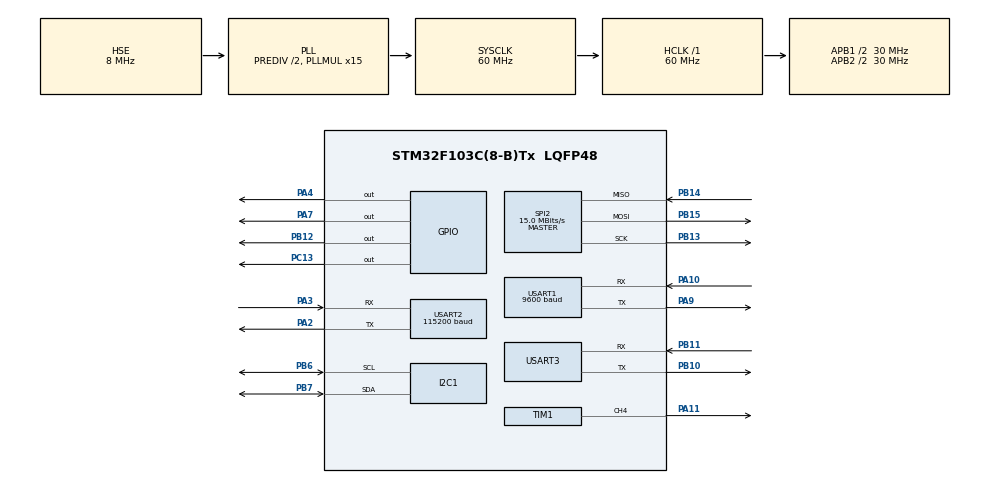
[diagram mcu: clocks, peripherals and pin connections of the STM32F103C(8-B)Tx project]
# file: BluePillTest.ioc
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I2C1.I2C_Mode=I2C_Fast
Mcu.Family=STM32F1
Mcu.Name=STM32F103C(8-B)Tx
Mcu.Package=LQFP48
NVIC.PriorityGroup=NVIC_PRIORITYGROUP_4
NVIC.USART1_IRQn=true\:1\:0\:true\:false\:true\:true\:true\:true
NVIC.USART2_IRQn=true\:1\:0\:true\:false\:true\:true\:true\:true
NVIC.USART3_IRQn=true\:0\:0\:false\:false\:true\:true\:true\:true
PA10.Mode=Asynchronous
PA10.Signal=USART1_RX
PA11.Signal=S_TIM1_CH4
PA13.Mode=Serial_Wire
PA13.Signal=SYS_JTMS-SWDIO
PA14.Mode=Serial_Wire
PA14.Signal=SYS_JTCK-SWCLK
PA2.Mode=Asynchronous
PA2.Signal=USART2_TX
PA3.Mode=Asynchronous
PA3.Signal=USART2_RX
PA4.PinState=GPIO_PIN_SET
PA4.Signal=GPIO_Output
PA7.Signal=GPIO_Output
PA9.Mode=Asynchronous
PA9.Signal=USART1_TX
PB10.Mode=Asynchronous
PB10.Signal=USART3_TX
PB11.Mode=Asynchronous
PB11.Signal=USART3_RX
PB12.PinState=GPIO_PIN_SET
PB12.Signal=GPIO_Output
PB13.Mode=Full_Duplex_Master
PB13.Signal=SPI2_SCK
PB14.Mode=Full_Duplex_Master
PB14.Signal=SPI2_MISO
PB15.Mode=Full_Duplex_Master
PB15.Signal=SPI2_MOSI
PB6.Mode=I2C
PB6.Signal=I2C1_SCL
PB7.Mode=I2C
PB7.Signal=I2C1_SDA
PC13-TAMPER-RTC.Signal=GPIO_Output
PD0-OSC_IN.Mode=HSE-External-Oscillator
PD0-OSC_IN.Signal=RCC_OSC_IN
PD1-OSC_OUT.Mode=HSE-External-Oscillator
PD1-OSC_OUT.Signal=RCC_OSC_OUT
ProjectManager.HeapSize=0x200
ProjectManager.StackSize=0x400
ProjectManager.TargetToolchain=STM32CubeIDE
RCC.AHBFreq_Value=60000000
RCC.APB1CLKDivider=RCC_HCLK_DIV2
RCC.APB1Freq_Value=30000000
RCC.APB1TimFreq_Value=60000000
RCC.APB2CLKDivider=RCC_HCLK_DIV2
RCC.APB2Freq_Value=30000000
RCC.APB2TimFreq_Value=60000000
RCC.HCLKFreq_Value=60000000
RCC.HSEDivPLL=RCC_HSE_PREDIV_DIV2
RCC.PLLMUL=RCC_PLL_MUL15
RCC.PLLSourceVirtual=RCC_PLLSOURCE_HSE
RCC.SYSCLKFreq_VALUE=60000000
RCC.SYSCLKSource=RCC_SYSCLKSOURCE_PLLCLK
RCC.USBFreq_Value=60000000
SH.S_TIM1_CH4.0=TIM1_CH4,PWM Generation4 CH4
SPI2.CalculateBaudRate=15.0 MBits/s
SPI2.Direction=SPI_DIRECTION_2LINES
SPI2.Mode=SPI_MODE_MASTER
SPI2.VirtualType=VM_MASTER
TIM1.Channel-PWM\ Generation4\ CH4=TIM_CHANNEL_4
TIM1.Period=1000
USART1.BaudRate=9600
USART1.VirtualMode=VM_ASYNC
USART2.BaudRate=115200
USART2.VirtualMode=VM_ASYNC
USART3.VirtualMode=VM_ASYNC
VP_TIM1_VS_ClockSourceINT.Mode=Internal
board=custom

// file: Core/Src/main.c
/* USER CODE BEGIN Header */
/**
 ******************************************************************************
 * @file           : main.c
 * @brief          : Main program body
 ******************************************************************************
 * @attention
 *
 * Copyright (c) 2024 STMicroelectronics.
 * All rights reserved.
 *
 * This software is licensed under terms that can be found in the LICENSE file
 * in the root directory of this software component.
 * If no LICENSE file comes with this software, it is provided AS-IS.
 *
 ******************************************************************************
 */
/* USER CODE END Header */
#include "main.h"

/* USER CODE BEGIN Includes */
#include "bno055_stm32.h"
#include "BMP388.h"
#include "string.h"
#include "stdio.h"
#include "math.h"
/* USER CODE END Includes */

I2C_HandleTypeDef hi2c1;

SPI_HandleTypeDef hspi2;

TIM_HandleTypeDef htim1;

UART_HandleTypeDef huart1;
UART_HandleTypeDef huart2;
UART_HandleTypeDef huart3;

void SystemClock_Config(void);
static void MX_GPIO_Init(void);
static void MX_I2C1_Init(void);
static void MX_USART1_UART_Init(void);
static void MX_USART2_UART_Init(void);
static void MX_SPI2_Init(void);
static void MX_TIM1_Init(void);
static void MX_USART3_UART_Init(void);

/* USER CODE BEGIN 0 */
//BMP280_HandleTypedef bmp280;

float pressure, temperature, humidity;
BMP388_HandleTypeDef hbmp388;
uint16_t size;
uint8_t Data[256];
uint8_t rxBuffer[128] = { 0 };
uint8_t rxIndex = 0;
uint8_t rxData;
uint8_t rxBuffer2[128] = { 0 };
uint8_t rxIndex2 = 0;
uint8_t rxData2;
float nmeaLong;
float nmeaLat;
float utcTime;
char northsouth;
char eastwest;
char posStatus;
float decimalLong;
float decimalLat;
float press = 0;
float temp = 0;
float device_alt = 0;
float mode = 0;
uint8_t launch = 0;
uint8_t apogee = 0;
uint32_t t1=0;
uint32_t currtime=0;
uint8_t burnout = 0;
uint8_t minalt = 0;
uint8_t angle = 0;
uint8_t drift = 0;
float prev_height = 0;
uint8_t fallalt = 0;
uint32_t t2 = 0;
uint8_t mainpara = 0;
bno055_vector_t v;
bno055_calibration_state_t k;
int flag = 1;
float initialalt=0;

float nmeaToDecimal(float coordinate) {
	int degree = (int) (coordinate / 100);
	float minutes = coordinate - degree * 100;
	float decimalDegree = minutes / 60;
	float decimal = degree + decimalDegree;
	return decimal;
}
#define TIM_FREQ 60000000

int presForFrequency (int frequency)
{
	if (frequency == 0) return 0;
	return ((TIM_FREQ/(1000*frequency))-1);  // 1 is added in the register
}

void gpsParse(char *strParse) {
	if (!strncmp(strParse, "$GNGGA", 6)) {
		sscanf(strParse, "$GNGGA,%f,%f,%c,%f,%c", &utcTime, &nmeaLat,
				&northsouth, &nmeaLong, &eastwest);
		decimalLat = nmeaToDecimal(nmeaLat);
		decimalLong = nmeaToDecimal(nmeaLong);
	} else if (!strncmp(strParse, "$GNGLL", 6)) {
		sscanf(strParse, "$GNGLL,%f,%c,%f,%c,%f", &nmeaLat, &northsouth,
				&nmeaLong, &eastwest, &utcTime);
		decimalLat = nmeaToDecimal(nmeaLat);
		decimalLong = nmeaToDecimal(nmeaLong);
	} else if (!strncmp(strParse, "$GNRMC", 6)) {
		sscanf(strParse, "$GNRMC,%f,%c,%f,%c,%f,%c", &utcTime, &posStatus,
				&nmeaLat, &northsouth, &nmeaLong, &eastwest);
		decimalLat = nmeaToDecimal(nmeaLat);
		decimalLong = nmeaToDecimal(nmeaLong);
	}
}

int gpsValidate(char *nmea) {
	char check[3];
	char calculatedString[3];
	int index;
	int calculatedCheck;

	index = 0;
	calculatedCheck = 0;

	// Ensure that the string starts with a "$"
	if (nmea[index] == '$')
		index++;
	else
		return 0;

	//No NULL reached, 75 char largest possible NMEA message, no '*' reached
	while ((nmea[index] != 0) && (nmea[index] != '*') && (index < 75)) {
		calculatedCheck ^= nmea[index]; // calculate the checksum
		index++;
	}

	if (index >= 75) {
		return 0; // the string is too long so return an error
	}

	if (nmea[index] == '*') {
		check[0] = nmea[index + 1];    //put hex chars in check string
		check[1] = nmea[index + 2];
		check[2] = 0;
	} else
		return 0;    // no checksum separator found therefore invalid data

	sprintf(calculatedString, "%02X", calculatedCheck);
	return ((calculatedString[0] == check[0])
			&& (calculatedString[1] == check[1])) ? 1 : 0;
}

float extract_float_from_bytes(uint8_t *data, uint16_t start_index) {

    float value;
    memcpy(&value, &data[start_index], sizeof(float));  // Copies 4 bytes
    return value;
}
float round2(float val) {
				 return round(val * 100.0) / 100.0;
			  }
void sft(uint8_t* packet)
{
	if (mode == 0) {
	    if (packet[1] == 0x20) {
	        mode = 1;
	        HAL_Delay(900);
	        while (1) {
	            uint8_t header_test = 0xAA;
	            float test_pressure = 0;
	            float test_altitude = 0;
	            float test_accx = 0, test_accy = 0, test_accz = 0;
	            float test_angx = 0, test_angy = 0, test_angz = 0;
	            int test_checksum = 0;
	            uint8_t test_footer1 = 0x0D;
	            uint8_t test_footer2 = 0x0A;

	            uint32_t raw_press = 0, raw_temp = 0, sensor_time = 0;
	            BMP388_ReadRawPressTempTime(&hbmp388, &raw_press, &raw_temp, &sensor_time);
	            BMP388_CompensateRawPressTemp(&hbmp388, raw_press, raw_temp, &test_pressure, &temp);
	            float test_altitude2 = round2(BMP388_FindAltitude(100400, test_pressure));
	            float test_pressure2 = round2(test_pressure);

	            v = bno055_getVectorEuler();
	            test_angx = round2(v.w);
	            test_angy = round2(v.x);
	            test_angz = round2(v.y);

	            bno055_vector_t accel = bno055_getVectorAccelerometer();
	            test_accx = round2(accel.x);
	            test_accy = round2(accel.y);
	            test_accz = round2(accel.z);

	            int index_test = 0;
	            uint8_t test_packet[36];

	            test_packet[index_test++] = header_test;
	            memcpy(&test_packet[index_test], &test_altitude2, sizeof(float)); index_test += sizeof(float);
	            memcpy(&test_packet[index_test], &test_pressure2, sizeof(float)); index_test += sizeof(float);
	            memcpy(&test_packet[index_test], &test_angx, sizeof(float)); index_test += sizeof(float);
	            memcpy(&test_packet[index_test], &test_angy, sizeof(float)); index_test += sizeof(float);
	            memcpy(&test_packet[index_test], &test_angz, sizeof(float)); index_test += sizeof(float);
	            memcpy(&test_packet[index_test], &test_accx, sizeof(float)); index_test += sizeof(float);
	            memcpy(&test_packet[index_test], &test_accy, sizeof(float)); index_test += sizeof(float);
	            memcpy(&test_packet[index_test], &test_accz, sizeof(float)); index_test += sizeof(float);
	            for (int i = 1; i < index_test; i++) {
	                test_checksum += test_packet[i];
	            }
//	            test_checksum += 0x6C;
	            test_checksum %= 256;
	            test_packet[index_test++] = test_checksum;
	            test_packet[index_test++] = test_footer1;
	            test_packet[index_test++] = test_footer2;
	            HAL_UART_Transmit(&huart2, test_packet, index_test, HAL_MAX_DELAY);
	            HAL_Delay(100);
	        }
	    }
      else if(packet[1]==0x22 || mode==2)
      {
		  mode = 2;
		  if(packet[1]!=0x24 && packet[0]==0xAB)
		  {
			  float taltitude = extract_float_from_bytes(packet, 1);
			  float tpressure = extract_float_from_bytes(packet, 5);
			  float acc_x    = extract_float_from_bytes(packet, 9);
			  float acc_y = extract_float_from_bytes(packet, 13);
			  float acc_z = extract_float_from_bytes(packet, 17);
			  float ang_x   = extract_float_from_bytes(packet, 21);
			  float ang_y = extract_float_from_bytes(packet, 25);
			  float ang_z = extract_float_from_bytes(packet, 29);
			  uint8_t test_checksum = packet[33];
			  uint8_t test_footer1 = packet[34];
			  uint8_t test_footer2 = packet[35];
			  if(flag)
			  {
				  initialalt = taltitude;
				  flag = 0;
			  }
			  float height = taltitude - initialalt;
			  currtime = HAL_GetTick();
			  if(height>=50 && launch == 0)
			  {

			  	  launch=1;
			  	  t1= HAL_GetTick();
			  }

			  if((currtime - t1) >= 3000 && launch == 1 && burnout == 0)
			  {

				  burnout=1;
			  }

			  if(height>=500  && minalt == 0)
			  {

				  minalt = 1;
			  }

			  if(ang_x + ang_y >= 80 )
			  {

				  angle = 1;
			  }

			  if(height - prev_height < 0 && angle == 1 && apogee == 0)
			  {

				  apogee = 1;
			  }

			 prev_height = height;

			 if(apogee == 1 && drift == 0)
			 {

				 drift = 1;
				 t2=HAL_GetTick();
			 }

			 if(height <= 550 && drift == 1 && fallalt == 0)
			 {

				 fallalt = 1;
			 }

			 if(currtime - t2 > 5000 && fallalt == 1 && mainpara == 0)
			 {

				 mainpara = 1;
			 }
			 uint8_t tr_packet[6];
			 tr_packet[0] = 0xAA;
			 tr_packet[1]=0;
			 if(launch==1){
				 tr_packet[1]+=128;
			 }
			 if (burnout==1){
				 tr_packet[1]+=64;
			 }
			 if (minalt==1){
				 tr_packet[1]+=32;
			 }
			 if (angle==1){
				 tr_packet[1]+=16;
			 }
			 if (apogee==1){
				 tr_packet[1]+=8;
			 }
			 if (drift==1){
				 tr_packet[1]+=4;
			 }
			 if (fallalt==1){
				 tr_packet[1]+=2;
			 }
			 if (mainpara==1){
				 tr_packet[1]+=1;
			 }
			 tr_packet[2]=0;
			 int t_checksum=0;
			 for (int i = 0; i < 3; i++) {
			 		t_checksum += packet[i];
			 }
			 t_checksum %= 256;
			 t_checksum += 6;
			 tr_packet[3] = t_checksum;
			 tr_packet[4] = 0x0D;
			 tr_packet[5] = 0x0A;
			HAL_UART_Transmit(&huart2, tr_packet, sizeof(tr_packet), HAL_MAX_DELAY);
			HAL_Delay(100);

		  }
		  else
		  {
			  mode=0;
			  launch=0;
			  apogee=0;
			  burnout=0;
			  t1=0;
			  minalt=0;
			  angle=0;
			  drift=0;
			  fallalt=0;
			  t2=0;
			  mainpara=0;
		  }
      }
      else if(packet[1]==0x24)
      {mode= 0;}
      }

}
int check_CheckSum(uint8_t* rxBuffer, uint8_t bsize){
	if (bsize < 3) return 0;
	uint8_t val = 0;
	for (uint8_t i = 1; i < bsize-2; i++){
		val += rxBuffer[i];
	}
	val %= 256;
	return (val == rxBuffer[bsize-2]);
}
void HAL_UART_RxCpltCallback(UART_HandleTypeDef *huart) {
//	// ZOE Interrupt
	if (huart->Instance == USART2) {
		// if the character received is other than 'enter' ascii13, save the data in buffer
		if (rxData != '\n' && rxIndex < sizeof(rxBuffer)) {
			rxBuffer[rxIndex++] = rxData;
		} else {
			char *bfr = (char*) rxBuffer;
			if (gpsValidate((char*) rxBuffer))
				gpsParse(bfr);
			rxIndex = 0;
			memset(rxBuffer, 0, sizeof(rxBuffer));
		}
		HAL_UART_Receive_IT(&huart2, &rxData, 1); // Enabling interrupt receive again
	}
//	// Xbee Interrupt
//	else if (huart->Instance == USART2) {
//		// We separate messages with a hash token in start and end.
//		if (rxData2 != '#' && rxIndex2 < sizeof(rxBuffer2)) {
//			rxBuffer2[rxIndex2++] = rxData2;
//		} else if (rxIndex2 != 0 && rxData2 == '#') {
//			rxBuffer2[rxIndex2] = '\0';
//			char *message = (char*) rxBuffer2;
//			rxIndex2 = 0;
//			memset(rxBuffer2, 0, sizeof(rxBuffer2));
//		}
//		HAL_UART_Receive_IT(&huart2, &rxData2, 1); // Enabling interrupt receive again
//	}
//}
	if (huart->Instance == USART1) {
				// We separate messages with a hash token in start and end.
		// VERY VERY POOR CODE BUT ALRIGHT
		 if (rxData2 != 0x0A && rxIndex2 < sizeof(rxBuffer2)) {
				rxBuffer2[rxIndex2++] = rxData2;

			} else if (rxIndex2 != 0 && rxData2 == 0x0A) {
				if (rxBuffer2[rxIndex2] == 0x0D) {
					if (!check_CheckSum(rxBuffer2, rxIndex2)){
						// Corrupted packet
						// TODO: Check if this is actually valid, might not be
						memset(rxBuffer2, 0, sizeof(rxBuffer2));
						rxIndex2 = 0;
					} else {
						// Complete, working, correct packet
						switch (mode){
						case 0:
							if (rxIndex2 == 4){
								if (rxBuffer2[1] == 0x20){
									// Start SMT
									mode = 1;
									memset(rxBuffer2, 0, sizeof(rxBuffer2));
									rxIndex2 = 0;
								} else if (rxBuffer2[1] == 0x22){
									// Start SFT
									// In this case, keep reading messages
									mode = 3;
									memset(rxBuffer2, 0, sizeof(rxBuffer2));
									rxIndex2 = 0;
								}
							} else {
								// Wrong message? Premature stop condition?
								memset(rxBuffer2, 0, sizeof(rxBuffer2));
								rxIndex2 = 0;
							}
							break;
						case 1:
							// SMT was going on
							if (rxIndex2 == 4 && rxBuffer2[1] == 0x24){
								// Stop SMT
								mode = 0; // SFT Completed, will proceed to working normally
								memset(rxBuffer2, 0, sizeof(rxBuffer2));
								rxIndex2 = 0;
							} else {
								memset(rxBuffer2, 0, sizeof(rxBuffer2)); // UNEXPECTED
								rxIndex2 = 0;
							}
							break;
						case 3:
							// Since I havent mentioned 2
							// We were in SFT
							if (rxIndex2 == 35){
								sft(rxBuffer2);
							} else {
								memset(rxBuffer2, 0, sizeof(rxBuffer2)); // UNEXPECTED
								rxIndex2 = 0;
							}
							break;
						default:
							break;
						}
					}
				}
			}
			HAL_UART_Receive_IT(&huart1, &rxData2, 1);
		}

}
/* USER CODE END 0 */

int main(void)
{

  /* MCU Configuration--------------------------------------------------------*/

  /* Reset of all peripherals, Initializes the Flash interface and the Systick. */
  HAL_Init();

  /* Configure the system clock */
  SystemClock_Config();

  /* Initialize all configured peripherals */
  MX_GPIO_Init();
  MX_I2C1_Init();
  MX_USART1_UART_Init();
  MX_USART2_UART_Init();
  MX_SPI2_Init();
  MX_TIM1_Init();
  MX_USART3_UART_Init();
  /* USER CODE BEGIN 2 */
  HAL_InitTick(0);
//	bno055_assignI2C(&hi2c1);
//	bno055_setup();
//	bno055_setOperationModeNDOF();
  HAL_Delay(5000);
  bno055_assignI2C(&hi2c1);
  	bno055_setup();
  	HAL_Delay(500);
	bno055_setOperationMode(BNO055_OPERATION_MODE_CONFIG);
  	HAL_Delay(500);
	bno055_reset();
	HAL_Delay(500);
  	bno055_setOperationModeNDOF();
//  	HAL_TIM_PWM_Start (&htim2, TIM_CHANNEL_1);
//    HAL_TIM_PWM_Start (&htim2, TIM_CHANNEL_2);
    HAL_TIM_PWM_Start (&htim1, TIM_CHANNEL_4);
	  hbmp388.hi2c = &hi2c1;
	  BMP388_Init(&hbmp388);
	  BMP388_SetTempOS(&hbmp388, BMP388_NO_OVERSAMPLING);
	  BMP388_SetPressOS(&hbmp388, BMP388_OVERSAMPLING_8X);
	  BMP388_SetIIRFilterCoeff(&hbmp388, BMP3_IIR_FILTER_COEFF_3);
	  BMP388_SetOutputDataRate(&hbmp388, BMP3_ODR_50_HZ);
	  HAL_UART_Receive_IT(&huart2, &rxData, 1);
	  while (mode == 1){
		  // We are in SMT Mode
		  /*
		   * Copy paste above code here.
		   */
	  }
	  float ground_alt = 0;
	  for (int i = 0; i < 100; i++){
		uint32_t raw_press = 0;
		uint32_t raw_temp = 0;
		uint32_t sensor_time = 0;
		BMP388_GetCalibData(&hbmp388);
		BMP388_ReadRawPressTempTime(&hbmp388, &raw_press, &raw_temp, &sensor_time);
		BMP388_CompensateRawPressTemp(&hbmp388, raw_press, raw_temp, &press, &temp);
		ground_alt += BMP388_FindAltitude(100400, press);
		HAL_Delay(50);
	  }
	  ground_alt /= 100;
	  device_alt = ground_alt;

//	HAL_UART_Transmit(&huart1, Data, size, 1000);
  /* USER CODE END 2 */

  /* Infinite loop */
  /* USER CODE BEGIN WHILE */
	while (1) {
	  k = bno055_getCalibrationState();
	  v = bno055_getVectorEuler();
//	  v = bno055_getVectorQuaternion();
	  printf("Heading: %.2f Roll: %.2f Pitch: %.2f\r\n", v.w, v.x, v.y);
	  uint32_t raw_press = 0;
	  uint32_t raw_temp = 0;
	  uint32_t sensor_time = 0;
	  BMP388_GetCalibData(&hbmp388);
	  BMP388_ReadRawPressTempTime(&hbmp388, &raw_press, &raw_temp, &sensor_time);
	  BMP388_CompensateRawPressTemp(&hbmp388, raw_press, raw_temp, &press, &temp);
//		HAL_Delay(100);
//		while (!bmp280_read_float(&bmp280, &temperature, &pressure, &humidity)) {
//			size = sprintf((char*) Data,
//					"Temperature/pressure reading failed\n");
////			HAL_UART_Transmit(&huart1, Data, size, 1000);
//			// I want to some how reset the board here
//			bmp280_init(&bmp280, &bmp280.params);
//			HAL_Delay(2000);
//		}
//
//		size = sprintf((char*) Data, "Pressure: %.2f Pa, Temperature: %.2f C",
//				pressure, temperature);
////		HAL_UART_Transmit(&huart1, Data, size, 1000);
//		if (bme280p) {
//			size = sprintf((char*) Data, ", Humidity: %.2f\n", humidity);
////			HAL_UART_Transmit(&huart1, Data, size, 1000);
//		}
//
//		else {
//			size = sprintf((char*) Data, "\n");
////			HAL_UART_Transmit(&huart1, Data, size, 1000);
//		}
//		HAL_Delay(2000);
//		k = bno055_getCalibrationState();
//		v = bno055_getVectorEuler();
//		printf("Heading: %.2f Roll: %.2f Pitch: %.2f\r\n", v.x, v.y, v.z);
//	v = bno055_getVectorQuaternion();
//	printf("W: %.2f X: %.2f Y: %.2f Z: %.2f\r\n", v.w, v.x, v.y, v.z);
		HAL_Delay(500);
    /* USER CODE END WHILE */

    /* USER CODE BEGIN 3 */
//	  HAL_GPIO_WritePin(GPIOC, GPIO_PIN_13, 1);
//	  HAL_Delay(500);
//	  HAL_GPIO_WritePin(GPIOC, GPIO_PIN_13, 0);
//	  HAL_Delay(500);
	}
  /* USER CODE END 3 */
}

void SystemClock_Config(void)
{
  RCC_OscInitTypeDef RCC_OscInitStruct = {0};
  RCC_ClkInitTypeDef RCC_ClkInitStruct = {0};

  /** Initializes the RCC Oscillators according to the specified parameters
  * in the RCC_OscInitTypeDef structure.
  */
  RCC_OscInitStruct.OscillatorType = RCC_OSCILLATORTYPE_HSE;
  RCC_OscInitStruct.HSEState = RCC_HSE_ON;
  RCC_OscInitStruct.HSEPredivValue = RCC_HSE_PREDIV_DIV2;
  RCC_OscInitStruct.HSIState = RCC_HSI_ON;
  RCC_OscInitStruct.PLL.PLLState = RCC_PLL_ON;
  RCC_OscInitStruct.PLL.PLLSource = RCC_PLLSOURCE_HSE;
  RCC_OscInitStruct.PLL.PLLMUL = RCC_PLL_MUL15;
  if (HAL_RCC_OscConfig(&RCC_OscInitStruct) != HAL_OK)
  {
    Error_Handler();
  }

  /** Initializes the CPU, AHB and APB buses clocks
  */
  RCC_ClkInitStruct.ClockType = RCC_CLOCKTYPE_HCLK|RCC_CLOCKTYPE_SYSCLK
                              |RCC_CLOCKTYPE_PCLK1|RCC_CLOCKTYPE_PCLK2;
  RCC_ClkInitStruct.SYSCLKSource = RCC_SYSCLKSOURCE_PLLCLK;
  RCC_ClkInitStruct.AHBCLKDivider = RCC_SYSCLK_DIV1;
  RCC_ClkInitStruct.APB1CLKDivider = RCC_HCLK_DIV2;
  RCC_ClkInitStruct.APB2CLKDivider = RCC_HCLK_DIV2;

  if (HAL_RCC_ClockConfig(&RCC_ClkInitStruct, FLASH_LATENCY_2) != HAL_OK)
  {
    Error_Handler();
  }
}

static void MX_I2C1_Init(void)
{

  hi2c1.Instance = I2C1;
  hi2c1.Init.ClockSpeed = 400000;
  hi2c1.Init.DutyCycle = I2C_DUTYCYCLE_2;
  hi2c1.Init.OwnAddress1 = 0;
  hi2c1.Init.AddressingMode = I2C_ADDRESSINGMODE_7BIT;
  hi2c1.Init.DualAddressMode = I2C_DUALADDRESS_DISABLE;
  hi2c1.Init.OwnAddress2 = 0;
  hi2c1.Init.GeneralCallMode = I2C_GENERALCALL_DISABLE;
  hi2c1.Init.NoStretchMode = I2C_NOSTRETCH_DISABLE;
  if (HAL_I2C_Init(&hi2c1) != HAL_OK)
  {
    Error_Handler();
  }

}

static void MX_SPI2_Init(void)
{

  /* SPI2 parameter configuration*/
  hspi2.Instance = SPI2;
  hspi2.Init.Mode = SPI_MODE_MASTER;
  hspi2.Init.Direction = SPI_DIRECTION_2LINES;
  hspi2.Init.DataSize = SPI_DATASIZE_8BIT;
  hspi2.Init.CLKPolarity = SPI_POLARITY_LOW;
  hspi2.Init.CLKPhase = SPI_PHASE_1EDGE;
  hspi2.Init.NSS = SPI_NSS_SOFT;
  hspi2.Init.BaudRatePrescaler = SPI_BAUDRATEPRESCALER_2;
  hspi2.Init.FirstBit = SPI_FIRSTBIT_MSB;
  hspi2.Init.TIMode = SPI_TIMODE_DISABLE;
  hspi2.Init.CRCCalculation = SPI_CRCCALCULATION_DISABLE;
  hspi2.Init.CRCPolynomial = 10;
  if (HAL_SPI_Init(&hspi2) != HAL_OK)
  {
    Error_Handler();
  }

}

static void MX_TIM1_Init(void)
{

  TIM_ClockConfigTypeDef sClockSourceConfig = {0};
  TIM_MasterConfigTypeDef sMasterConfig = {0};
  TIM_OC_InitTypeDef sConfigOC = {0};
  TIM_BreakDeadTimeConfigTypeDef sBreakDeadTimeConfig = {0};

  htim1.Instance = TIM1;
  htim1.Init.Prescaler = 0;
  htim1.Init.CounterMode = TIM_COUNTERMODE_UP;
  htim1.Init.Period = 1000;
  htim1.Init.ClockDivision = TIM_CLOCKDIVISION_DIV1;
  htim1.Init.RepetitionCounter = 0;
  htim1.Init.AutoReloadPreload = TIM_AUTORELOAD_PRELOAD_DISABLE;
  if (HAL_TIM_Base_Init(&htim1) != HAL_OK)
  {
    Error_Handler();
  }
  sClockSourceConfig.ClockSource = TIM_CLOCKSOURCE_INTERNAL;
  if (HAL_TIM_ConfigClockSource(&htim1, &sClockSourceConfig) != HAL_OK)
  {
    Error_Handler();
  }
  if (HAL_TIM_PWM_Init(&htim1) != HAL_OK)
  {
    Error_Handler();
  }
  sMasterConfig.MasterOutputTrigger = TIM_TRGO_RESET;
  sMasterConfig.MasterSlaveMode = TIM_MASTERSLAVEMODE_DISABLE;
  if (HAL_TIMEx_MasterConfigSynchronization(&htim1, &sMasterConfig) != HAL_OK)
  {
    Error_Handler();
  }
  sConfigOC.OCMode = TIM_OCMODE_PWM1;
  sConfigOC.Pulse = 0;
  sConfigOC.OCPolarity = TIM_OCPOLARITY_HIGH;
  sConfigOC.OCFastMode = TIM_OCFAST_DISABLE;
  sConfigOC.OCIdleState = TIM_OCIDLESTATE_RESET;
  sConfigOC.OCNIdleState = TIM_OCNIDLESTATE_RESET;
  if (HAL_TIM_PWM_ConfigChannel(&htim1, &sConfigOC, TIM_CHANNEL_4) != HAL_OK)
  {
    Error_Handler();
  }
  sBreakDeadTimeConfig.OffStateRunMode = TIM_OSSR_DISABLE;
  sBreakDeadTimeConfig.OffStateIDLEMode = TIM_OSSI_DISABLE;
  sBreakDeadTimeConfig.LockLevel = TIM_LOCKLEVEL_OFF;
  sBreakDeadTimeConfig.DeadTime = 0;
  sBreakDeadTimeConfig.BreakState = TIM_BREAK_DISABLE;
  sBreakDeadTimeConfig.BreakPolarity = TIM_BREAKPOLARITY_HIGH;
  sBreakDeadTimeConfig.AutomaticOutput = TIM_AUTOMATICOUTPUT_DISABLE;
  if (HAL_TIMEx_ConfigBreakDeadTime(&htim1, &sBreakDeadTimeConfig) != HAL_OK)
  {
    Error_Handler();
  }
  HAL_TIM_MspPostInit(&htim1);

}

static void MX_USART1_UART_Init(void)
{

  huart1.Instance = USART1;
  huart1.Init.BaudRate = 9600;
  huart1.Init.WordLength = UART_WORDLENGTH_8B;
  huart1.Init.StopBits = UART_STOPBITS_1;
  huart1.Init.Parity = UART_PARITY_NONE;
  huart1.Init.Mode = UART_MODE_TX_RX;
  huart1.Init.HwFlowCtl = UART_HWCONTROL_NONE;
  huart1.Init.OverSampling = UART_OVERSAMPLING_16;
  if (HAL_UART_Init(&huart1) != HAL_OK)
  {
    Error_Handler();
  }

}

static void MX_USART2_UART_Init(void)
{

  huart2.Instance = USART2;
  huart2.Init.BaudRate = 115200;
  huart2.Init.WordLength = UART_WORDLENGTH_8B;
  huart2.Init.StopBits = UART_STOPBITS_1;
  huart2.Init.Parity = UART_PARITY_NONE;
  huart2.Init.Mode = UART_MODE_TX_RX;
  huart2.Init.HwFlowCtl = UART_HWCONTROL_NONE;
  huart2.Init.OverSampling = UART_OVERSAMPLING_16;
  if (HAL_UART_Init(&huart2) != HAL_OK)
  {
    Error_Handler();
  }

}

static void MX_USART3_UART_Init(void)
{

  huart3.Instance = USART3;
  huart3.Init.BaudRate = 115200;
  huart3.Init.WordLength = UART_WORDLENGTH_8B;
  huart3.Init.StopBits = UART_STOPBITS_1;
  huart3.Init.Parity = UART_PARITY_NONE;
  huart3.Init.Mode = UART_MODE_TX_RX;
  huart3.Init.HwFlowCtl = UART_HWCONTROL_NONE;
  huart3.Init.OverSampling = UART_OVERSAMPLING_16;
  if (HAL_UART_Init(&huart3) != HAL_OK)
  {
    Error_Handler();
  }

}

static void MX_GPIO_Init(void)
{
  GPIO_InitTypeDef GPIO_InitStruct = {0};

  /* GPIO Ports Clock Enable */
  __HAL_RCC_GPIOC_CLK_ENABLE();
  __HAL_RCC_GPIOD_CLK_ENABLE();
  __HAL_RCC_GPIOA_CLK_ENABLE();
  __HAL_RCC_GPIOB_CLK_ENABLE();

  /*Configure GPIO pin Output Level */
  HAL_GPIO_WritePin(GPIOC, GPIO_PIN_13, GPIO_PIN_RESET);

  /*Configure GPIO pin Output Level */
  HAL_GPIO_WritePin(GPIOA, GPIO_PIN_4, GPIO_PIN_SET);

  /*Configure GPIO pin Output Level */
  HAL_GPIO_WritePin(GPIOA, GPIO_PIN_7, GPIO_PIN_RESET);

  /*Configure GPIO pin Output Level */
  HAL_GPIO_WritePin(GPIOB, GPIO_PIN_12, GPIO_PIN_SET);

  /*Configure GPIO pin : PC13 */
  GPIO_InitStruct.Pin = GPIO_PIN_13;
  GPIO_InitStruct.Mode = GPIO_MODE_OUTPUT_PP;
  GPIO_InitStruct.Pull = GPIO_NOPULL;
  GPIO_InitStruct.Speed = GPIO_SPEED_FREQ_LOW;
  HAL_GPIO_Init(GPIOC, &GPIO_InitStruct);

  /*Configure GPIO pins : PA4 PA7 */
  GPIO_InitStruct.Pin = GPIO_PIN_4|GPIO_PIN_7;
  GPIO_InitStruct.Mode = GPIO_MODE_OUTPUT_PP;
  GPIO_InitStruct.Pull = GPIO_NOPULL;
  GPIO_InitStruct.Speed = GPIO_SPEED_FREQ_LOW;
  HAL_GPIO_Init(GPIOA, &GPIO_InitStruct);

  /*Configure GPIO pin : PB12 */
  GPIO_InitStruct.Pin = GPIO_PIN_12;
  GPIO_InitStruct.Mode = GPIO_MODE_OUTPUT_PP;
  GPIO_InitStruct.Pull = GPIO_NOPULL;
  GPIO_InitStruct.Speed = GPIO_SPEED_FREQ_LOW;
  HAL_GPIO_Init(GPIOB, &GPIO_InitStruct);

}

/* USER CODE BEGIN 4 */
int _write(int file, char *ptr, int len) {
	(void) file;
	int DataIdx;

	for (DataIdx = 0; DataIdx < len; DataIdx++) {
		ITM_SendChar(*ptr++);
	}
	return len;
}

/* USER CODE END 4 */

void Error_Handler(void)
{
	__disable_irq();
	while (1) {
	}
}
